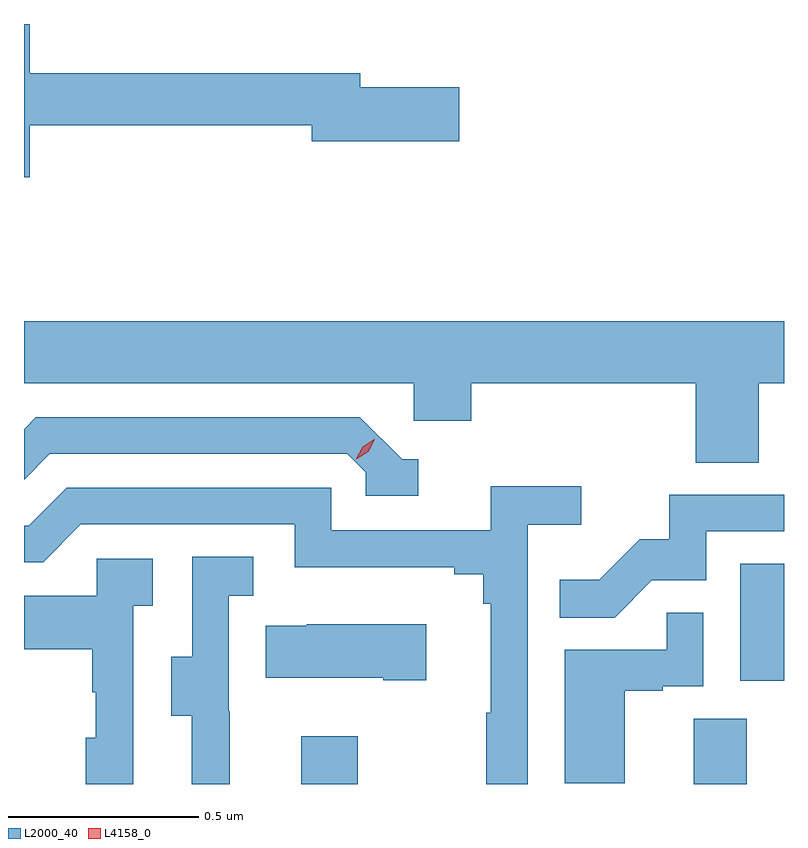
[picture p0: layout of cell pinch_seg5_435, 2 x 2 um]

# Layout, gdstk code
import gdstk
lib = gdstk.Library(unit=1e-6, precision=1e-09)
def R(c, l, rs):  # rectangles x0, y0, x1, y1
    for r in rs: c.add(gdstk.rectangle(r[:2], r[2:], *l))
def P(c, l, *ps):  # polygons
    for p in ps: c.add(gdstk.Polygon(p, *l))
L2000_40 = (2000, 40)
L4158_0 = (4158, 0)

pinch_seg5_435 = lib.new_cell('pinch_seg5_435')
R(pinch_seg5_435, L2000_40, [(976.061,854.374,976.209,854.5), (977.093,854.374,977.233,854.546), (977.216,854.646,977.331,854.953)])
P(pinch_seg5_435, L2000_40, [(975.346,856.108),(976.088,856.108),(976.088,856.066),(976.477,856.066),(976.477,856.208),(976.216,856.208),(976.216,856.244),(975.346,856.244),(975.346,856.374),(975.331,856.374),(975.331,855.971),(975.346,855.971)],
  [(975.331,855.428),(976.356,855.428),(976.356,855.33),(976.508,855.33),(976.508,855.428),(977.099,855.428),(977.099,855.22),(977.264,855.22),(977.264,855.428),(977.331,855.428),(977.331,855.592),(975.331,855.592)],
  [(976.369,855.228),(976.326,855.228),(976.215,855.339),(975.362,855.339),(975.331,855.308),(975.331,855.175),(975.399,855.243),(976.182,855.243),(976.23,855.195),(976.23,855.132),(976.369,855.132)],
  [(976.656,855.056),(976.798,855.056),(976.798,855.158),(976.559,855.158),(976.559,855.042),(976.14,855.042),(976.14,855.153),(975.443,855.153),(975.344,855.054),(975.331,855.054),(975.331,854.958),(975.381,854.958),(975.48,855.057),(976.044,855.057),(976.044,854.945),(976.463,854.945),(976.463,854.926),(976.54,854.926),(976.54,854.849),(976.559,854.849),(976.559,854.561),(976.548,854.561),(976.548,854.374),(976.656,854.374)],
  [(976.983,854.91),(977.127,854.91),(977.127,855.039),(977.331,855.039),(977.331,855.135),(977.029,855.135),(977.029,855.018),(976.952,855.018),(976.845,854.911),(976.741,854.911),(976.741,854.812),(976.885,854.812)],
  [(975.872,854.565),(975.87,854.565),(975.87,854.869),(975.934,854.869),(975.934,854.972),(975.774,854.972),(975.774,854.709),(975.719,854.709),(975.719,854.554),(975.773,854.554),(975.773,854.374),(975.872,854.374)],
  [(975.618,854.843),(975.67,854.843),(975.67,854.967),(975.522,854.967),(975.522,854.869),(975.331,854.869),(975.331,854.729),(975.51,854.729),(975.51,854.615),(975.52,854.615),(975.52,854.496),(975.494,854.496),(975.494,854.374),(975.618,854.374)],
  [(976.912,854.619),(977.012,854.619),(977.012,854.631),(977.118,854.631),(977.118,854.825),(977.023,854.825),(977.023,854.727),(976.754,854.727),(976.754,854.376),(976.912,854.376)],
  [(976.39,854.794),(976.075,854.794),(976.075,854.791),(975.967,854.791),(975.967,854.654),(976.277,854.654),(976.277,854.647),(976.39,854.647)])
P(pinch_seg5_435, L4158_0, [(976.205,855.229),(976.205,855.23),(976.222,855.262),(976.253,855.281),(976.254,855.281),(976.254,855.281),(976.237,855.248),(976.205,855.229)])

lib.write_gds('pinch_seg5_435.gds')
